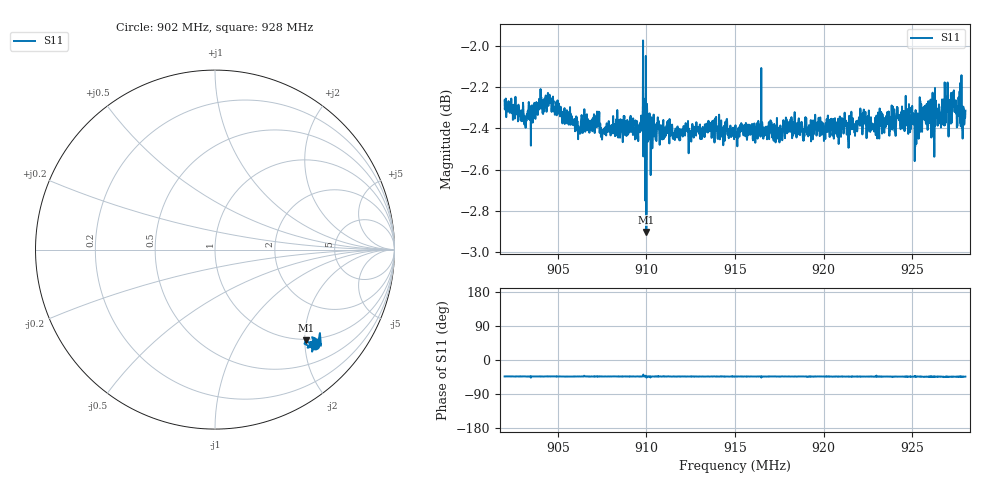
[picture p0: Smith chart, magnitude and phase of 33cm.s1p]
! Calibrated averaged scanner-service zoom
# Hz S RI R 50
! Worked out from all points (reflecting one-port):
!   2001 points, 902 MHz to 928 MHz, reference 50 ohm
!   lowest |S11| = -2.9 dB at 910 MHz (marker M1), VSWR 6.04, Z = 48.7 - j101 ohm
!   phase of S11 starts at -43 deg and turns -0 deg over the sweep
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9.02e8  0.5597 -0.5296
9.03105e8  0.5526 -0.5222
9.03352e8  0.5561 -0.5302
9.04509e8  0.5601 -0.5291
9.0525e8  0.5539 -0.5258
9.0616e8  0.55 -0.5239
9.06537e8  0.5547 -0.5194
9.06797e8  0.5484 -0.5235
9.085e8  0.545 -0.5231
9.09423e8  0.5485 -0.5207
9.09683e8  0.5508 -0.5243
9.09839e8  0.576 -0.5132
9.09995e8  0.5062 -0.5063
9.1006e8  0.5523 -0.5168
9.10099e8  0.5538 -0.5273
9.10112e8  0.5445 -0.5211
9.10164e8  0.5499 -0.5207
9.10593e8  0.5495 -0.5226
9.1175e8  0.552 -0.5213
9.15e8  0.5464 -0.5231
9.1825e8  0.5491 -0.5206
9.215e8  0.5505 -0.5257
9.2475e8  0.5559 -0.5278
9.2527e8  0.5508 -0.5272
9.25699e8  0.5528 -0.5306
9.26544e8  0.5497 -0.5301
9.26895e8  0.5495 -0.5382
9.28e8  0.5521 -0.5311
